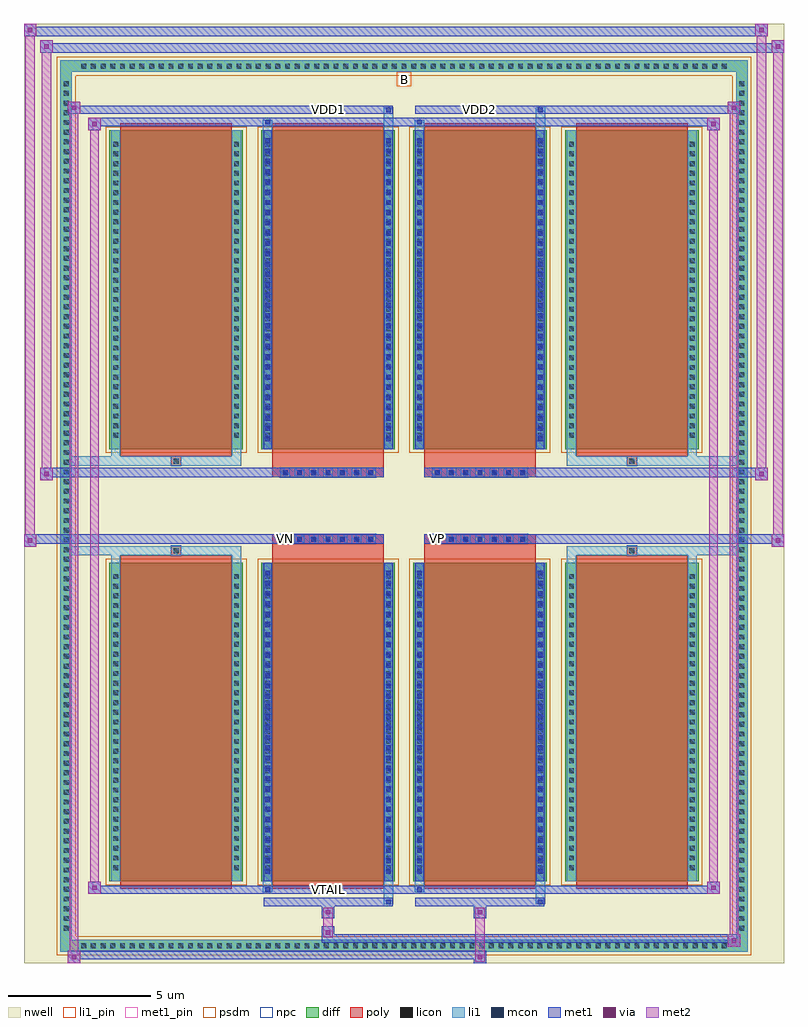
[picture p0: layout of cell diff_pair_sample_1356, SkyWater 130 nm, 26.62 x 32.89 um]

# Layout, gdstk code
import gdstk
lib = gdstk.Library(unit=1e-6, precision=5e-09)
def R(c, l, rs):  # rectangles x0, y0, x1, y1
    for r in rs: c.add(gdstk.rectangle(r[:2], r[2:], *l))
def A(c, l, x, y, w, h, nx, ny, dx, dy):  # array of equal rectangles
    R(c, l, [(x+i*dx, y+j*dy, x+i*dx+w, y+j*dy+h) for i in range(nx) for j in range(ny)])
def P(c, l, *ps):  # polygons
    for p in ps: c.add(gdstk.Polygon(p, *l))
nwell = (64, 20)
diff = (65, 20)
poly = (66, 20)
licon = (66, 44)
li1_pin = (67, 16)
li1 = (67, 20)
mcon = (67, 44)
met1_pin = (68, 16)
met1 = (68, 20)
via = (68, 44)
met2 = (69, 20)
psdm = (94, 20)
npc = (95, 20)

diff_pair_sample_1356 = lib.new_cell('diff_pair_sample_1356')
R(diff_pair_sample_1356, nwell, [(-13.31,-16.01,13.31,16.88), (-10.63,-14.2,-0.01,-0.8), (0.01,-14.2,10.63,-0.8), (-10.63,0.8,-0.01,14.2), (0.01,0.8,10.63,14.2)])
A(diff_pair_sample_1356, diff, -11.425, -15.61, 0.41, 0.41, 67, 2, 0.34, 30.81)
A(diff_pair_sample_1356, diff, -12.04, -14.995, 0.41, 0.41, 1, 88, 0, 0.34)
A(diff_pair_sample_1356, diff, 11.63, -14.995, 0.41, 0.41, 1, 88, 0, 0.34)
A(diff_pair_sample_1356, diff, -10.32, -13.155, 4.68, 11.17, 4, 2, 5.32, 15.14)
R(diff_pair_sample_1356, diff, [(-11.425,-15.61,11.425,-15.2), (-12.04,-14.995,-11.63,14.995), (11.63,-14.995,12.04,14.995), (-11.425,15.2,11.425,15.61)])
P(diff_pair_sample_1356, diff, [(12.04,15.61),(-12.04,15.61),(-12.04,-15.2),(-11.63,-15.2),(-11.63,15.2),(11.63,15.2),(11.63,-15.2),(-11.63,-15.2),(-12.04,-15.2),(-12.04,-15.61),(12.04,-15.61)])
A(diff_pair_sample_1356, poly, -9.93, -13.405, 3.9, 11.67, 4, 2, 5.32, 15.14)
A(diff_pair_sample_1356, poly, -4.325, -1.33, 0.33, 0.33, 7, 2, 0.5, 2.33)
A(diff_pair_sample_1356, poly, 0.995, -1.33, 0.33, 0.33, 7, 2, 0.5, 2.33)
R(diff_pair_sample_1356, poly, [(-8.145,-1.735,-7.815,-1.405), (-8.145,-1.735,-7.815,-1.405), (-4.61,-1.735,-0.71,-1.33), (0.71,-1.735,4.61,-1.33), (7.815,-1.735,8.145,-1.405), (7.815,-1.735,8.145,-1.405), (-4.61,-1.33,-0.71,-1), (0.71,-1.33,4.61,-1), (-4.61,1,-0.71,1.33), (0.71,1,4.61,1.33), (-4.61,1.33,-0.71,1.735), (0.71,1.33,4.61,1.735), (-8.145,1.405,-7.815,1.735), (-8.145,1.405,-7.815,1.735), (7.815,1.405,8.145,1.735), (7.815,1.405,8.145,1.735)])
A(diff_pair_sample_1356, licon, -11.305, -15.49, 0.17, 0.17, 67, 2, 0.34, 30.81)
A(diff_pair_sample_1356, licon, -11.92, -14.875, 0.17, 0.17, 1, 88, 0, 0.34)
A(diff_pair_sample_1356, licon, 11.75, -14.875, 0.17, 0.17, 1, 88, 0, 0.34)
A(diff_pair_sample_1356, licon, -10.18, -12.755, 0.17, 0.17, 1, 31, 0, 0.34)
A(diff_pair_sample_1356, licon, -5.95, -12.755, 0.17, 0.17, 1, 31, 0, 0.34)
A(diff_pair_sample_1356, licon, -4.86, -12.755, 0.17, 0.17, 1, 31, 0, 0.34)
A(diff_pair_sample_1356, licon, -0.63, -12.755, 0.17, 0.17, 1, 31, 0, 0.34)
A(diff_pair_sample_1356, licon, 0.46, -12.755, 0.17, 0.17, 1, 31, 0, 0.34)
A(diff_pair_sample_1356, licon, 4.69, -12.755, 0.17, 0.17, 1, 31, 0, 0.34)
A(diff_pair_sample_1356, licon, 5.78, -12.755, 0.17, 0.17, 1, 31, 0, 0.34)
A(diff_pair_sample_1356, licon, 10.01, -12.755, 0.17, 0.17, 1, 31, 0, 0.34)
A(diff_pair_sample_1356, licon, -4.245, -1.25, 0.17, 0.17, 7, 2, 0.5, 2.33)
A(diff_pair_sample_1356, licon, 1.075, -1.25, 0.17, 0.17, 7, 2, 0.5, 2.33)
A(diff_pair_sample_1356, licon, -10.18, 2.385, 0.17, 0.17, 1, 31, 0, 0.34)
A(diff_pair_sample_1356, licon, -5.95, 2.385, 0.17, 0.17, 1, 31, 0, 0.34)
A(diff_pair_sample_1356, licon, -4.86, 2.385, 0.17, 0.17, 1, 31, 0, 0.34)
A(diff_pair_sample_1356, licon, -0.63, 2.385, 0.17, 0.17, 1, 31, 0, 0.34)
A(diff_pair_sample_1356, licon, 0.46, 2.385, 0.17, 0.17, 1, 31, 0, 0.34)
A(diff_pair_sample_1356, licon, 4.69, 2.385, 0.17, 0.17, 1, 31, 0, 0.34)
A(diff_pair_sample_1356, licon, 5.78, 2.385, 0.17, 0.17, 1, 31, 0, 0.34)
A(diff_pair_sample_1356, licon, 10.01, 2.385, 0.17, 0.17, 1, 31, 0, 0.34)
R(diff_pair_sample_1356, licon, [(-8.065,-1.655,-7.895,-1.485), (7.895,-1.655,8.065,-1.485), (-8.065,1.485,-7.895,1.655), (7.895,1.485,8.065,1.655)])
R(diff_pair_sample_1356, li1_pin, [(-0.25,14.7,0.25,15.2)])
A(diff_pair_sample_1356, li1, -11.385, -15.57, 0.33, 0.33, 67, 2, 0.34, 30.81)
A(diff_pair_sample_1356, li1, -12, -14.955, 0.33, 0.33, 1, 88, 0, 0.34)
A(diff_pair_sample_1356, li1, 11.67, -14.955, 0.33, 0.33, 1, 88, 0, 0.34)
A(diff_pair_sample_1356, li1, -4.86, -12.875, 0.17, 0.17, 1, 30, 0, 0.36)
A(diff_pair_sample_1356, li1, -0.63, -12.875, 0.17, 0.17, 1, 30, 0, 0.36)
A(diff_pair_sample_1356, li1, 0.46, -12.875, 0.17, 0.17, 1, 30, 0, 0.36)
A(diff_pair_sample_1356, li1, 4.69, -12.875, 0.17, 0.17, 1, 30, 0, 0.36)
A(diff_pair_sample_1356, li1, -10.26, -12.835, 0.33, 0.33, 1, 31, 0, 0.34)
A(diff_pair_sample_1356, li1, -6.03, -12.835, 0.33, 0.33, 1, 31, 0, 0.34)
A(diff_pair_sample_1356, li1, -4.94, -12.835, 0.33, 0.33, 1, 31, 0, 0.34)
A(diff_pair_sample_1356, li1, -0.71, -12.835, 0.33, 0.33, 1, 31, 0, 0.34)
A(diff_pair_sample_1356, li1, 0.38, -12.835, 0.33, 0.33, 1, 31, 0, 0.34)
A(diff_pair_sample_1356, li1, 4.61, -12.835, 0.33, 0.33, 1, 31, 0, 0.34)
A(diff_pair_sample_1356, li1, 5.7, -12.835, 0.33, 0.33, 1, 31, 0, 0.34)
A(diff_pair_sample_1356, li1, 9.93, -12.835, 0.33, 0.33, 1, 31, 0, 0.34)
A(diff_pair_sample_1356, li1, -4.325, -1.33, 0.33, 0.33, 7, 2, 0.5, 2.33)
A(diff_pair_sample_1356, li1, 0.995, -1.33, 0.33, 0.33, 7, 2, 0.5, 2.33)
A(diff_pair_sample_1356, li1, -4.86, 2.265, 0.17, 0.17, 1, 30, 0, 0.36)
A(diff_pair_sample_1356, li1, -0.63, 2.265, 0.17, 0.17, 1, 30, 0, 0.36)
A(diff_pair_sample_1356, li1, 0.46, 2.265, 0.17, 0.17, 1, 30, 0, 0.36)
A(diff_pair_sample_1356, li1, 4.69, 2.265, 0.17, 0.17, 1, 30, 0, 0.36)
A(diff_pair_sample_1356, li1, -10.26, 2.305, 0.33, 0.33, 1, 31, 0, 0.34)
A(diff_pair_sample_1356, li1, -6.03, 2.305, 0.33, 0.33, 1, 31, 0, 0.34)
A(diff_pair_sample_1356, li1, -4.94, 2.305, 0.33, 0.33, 1, 31, 0, 0.34)
A(diff_pair_sample_1356, li1, -0.71, 2.305, 0.33, 0.33, 1, 31, 0, 0.34)
A(diff_pair_sample_1356, li1, 0.38, 2.305, 0.33, 0.33, 1, 31, 0, 0.34)
A(diff_pair_sample_1356, li1, 4.61, 2.305, 0.33, 0.33, 1, 31, 0, 0.34)
A(diff_pair_sample_1356, li1, 5.7, 2.305, 0.33, 0.33, 1, 31, 0, 0.34)
A(diff_pair_sample_1356, li1, 9.93, 2.305, 0.33, 0.33, 1, 31, 0, 0.34)
R(diff_pair_sample_1356, li1, [(-12.04,-15.61,-11.63,-15.2), (-12.04,-15.61,-11.63,-15.2), (-11.63,-15.61,11.63,-15.2), (11.63,-15.61,12.04,-15.2), (11.63,-15.61,12.04,-15.2), (-12.04,-15.2,-11.63,15.2), (11.63,-15.2,12.04,15.2), (-0.71,-13.96,-0.38,-13.155), (-0.63,-13.96,-0.46,-13.79), (4.61,-13.96,4.94,-13.155), (4.69,-13.96,4.86,-13.79), (-4.94,-13.53,-4.61,-13.155), (-4.86,-13.53,-4.69,-13.36), (0.38,-13.53,0.71,-13.155), (0.46,-13.53,0.63,-13.36), (-10.26,-13.155,-9.93,-1.985), (-6.03,-13.155,-5.7,-1.985), (-4.94,-13.155,-4.61,-1.985), (-0.71,-13.155,-0.38,-1.985), (0.38,-13.155,0.71,-1.985), (4.61,-13.155,4.94,-1.985), (5.7,-13.155,6.03,-1.985), (9.93,-13.155,10.26,-1.985), (-4.86,-12.875,-4.69,-2.265), (-0.63,-12.875,-0.46,-2.265), (0.46,-12.875,0.63,-2.265), (4.69,-12.875,4.86,-2.265), (-10.26,-1.985,-9.93,-1.405), (-6.03,-1.985,-5.7,-1.405), (5.7,-1.985,6.03,-1.405), (9.93,-1.985,10.26,-1.405), (-12.04,-1.735,-8.145,-1.405), (-10.26,-1.735,-8.145,-1.405), (-8.145,-1.735,-7.815,-1.405), (-7.815,-1.735,-5.7,-1.405), (5.7,-1.735,7.815,-1.405), (7.815,-1.735,8.145,-1.405), (7.815,-1.735,12.04,-1.405), (8.145,-1.735,10.26,-1.405), (-12.04,1.405,-8.145,1.735), (-10.26,1.405,-8.145,1.735), (-10.26,1.405,-9.93,1.985), (-8.145,1.405,-7.815,1.735), (-7.815,1.405,-5.7,1.735), (-6.03,1.405,-5.7,1.985), (5.7,1.405,7.815,1.735), (5.7,1.405,6.03,1.985), (7.815,1.405,8.145,1.735), (7.815,1.405,12.04,1.735), (8.145,1.405,10.26,1.735), (9.93,1.405,10.26,1.985), (-10.26,1.985,-9.93,13.155), (-6.03,1.985,-5.7,13.155), (-4.94,1.985,-4.61,13.155), (-0.71,1.985,-0.38,13.155), (0.38,1.985,0.71,13.155), (4.61,1.985,4.94,13.155), (5.7,1.985,6.03,13.155), (9.93,1.985,10.26,13.155), (-4.86,2.265,-4.69,12.875), (-0.63,2.265,-0.46,12.875), (0.46,2.265,0.63,12.875), (4.69,2.265,4.86,12.875), (-4.94,13.155,-4.61,13.53), (-0.71,13.155,-0.38,13.96), (0.38,13.155,0.71,13.53), (4.61,13.155,4.94,13.96), (-4.86,13.36,-4.69,13.53), (0.46,13.36,0.63,13.53), (-0.63,13.79,-0.46,13.96), (4.69,13.79,4.86,13.96), (-12.04,15.2,-11.63,15.61), (-12.04,15.2,-11.63,15.61), (-11.63,15.2,11.63,15.61), (11.63,15.2,12.04,15.61), (11.63,15.2,12.04,15.61)])
A(diff_pair_sample_1356, mcon, -4.86, -12.875, 0.17, 0.17, 1, 30, 0, 0.36)
A(diff_pair_sample_1356, mcon, -0.63, -12.875, 0.17, 0.17, 1, 30, 0, 0.36)
A(diff_pair_sample_1356, mcon, 0.46, -12.875, 0.17, 0.17, 1, 30, 0, 0.36)
A(diff_pair_sample_1356, mcon, 4.69, -12.875, 0.17, 0.17, 1, 30, 0, 0.36)
A(diff_pair_sample_1356, mcon, -4.245, -1.25, 0.17, 0.17, 7, 2, 0.5, 2.33)
A(diff_pair_sample_1356, mcon, 1.075, -1.25, 0.17, 0.17, 7, 2, 0.5, 2.33)
A(diff_pair_sample_1356, mcon, -4.86, 2.265, 0.17, 0.17, 1, 30, 0, 0.36)
A(diff_pair_sample_1356, mcon, -0.63, 2.265, 0.17, 0.17, 1, 30, 0, 0.36)
A(diff_pair_sample_1356, mcon, 0.46, 2.265, 0.17, 0.17, 1, 30, 0, 0.36)
A(diff_pair_sample_1356, mcon, 4.69, 2.265, 0.17, 0.17, 1, 30, 0, 0.36)
R(diff_pair_sample_1356, mcon, [(-0.63,-13.96,-0.46,-13.79), (4.69,-13.96,4.86,-13.79), (-4.86,-13.53,-4.69,-13.36), (0.46,-13.53,0.63,-13.36), (-4.86,13.36,-4.69,13.53), (0.46,13.36,0.63,13.53), (-0.63,13.79,-0.46,13.96), (4.69,13.79,4.86,13.96)])
R(diff_pair_sample_1356, met1_pin, [(-2.795,-13.57,-2.525,-13.3), (-4.295,-1.29,-4.025,-1.02), (1.025,-1.29,1.295,-1.02), (-2.795,13.75,-2.525,14.02), (2.525,13.75,2.795,14.02)])
A(diff_pair_sample_1356, met1, -4.92, -12.935, 0.29, 0.29, 1, 30, 0, 0.36)
A(diff_pair_sample_1356, met1, -0.69, -12.935, 0.29, 0.29, 1, 30, 0, 0.36)
A(diff_pair_sample_1356, met1, 0.4, -12.935, 0.29, 0.29, 1, 30, 0, 0.36)
A(diff_pair_sample_1356, met1, 4.63, -12.935, 0.29, 0.29, 1, 30, 0, 0.36)
A(diff_pair_sample_1356, met1, -4.305, -1.31, 0.29, 0.29, 7, 2, 0.5, 2.33)
A(diff_pair_sample_1356, met1, 1.015, -1.31, 0.29, 0.29, 7, 2, 0.5, 2.33)
A(diff_pair_sample_1356, met1, -4.92, 2.205, 0.29, 0.29, 1, 30, 0, 0.36)
A(diff_pair_sample_1356, met1, -0.69, 2.205, 0.29, 0.29, 1, 30, 0, 0.36)
A(diff_pair_sample_1356, met1, 0.4, 2.205, 0.29, 0.29, 1, 30, 0, 0.36)
A(diff_pair_sample_1356, met1, 4.63, 2.205, 0.29, 0.29, 1, 30, 0, 0.36)
R(diff_pair_sample_1356, met1, [(-11.77,-16.01,-11.34,-15.58), (2.445,-16.01,2.875,-15.58), (-11.77,-15.87,2.875,-15.58), (11.34,-15.44,11.77,-15.01), (-2.875,-15.3,11.77,-15.01), (-2.875,-15.16,-2.445,-14.73), (-2.875,-14.45,-2.445,-14.02), (2.445,-14.45,2.875,-14.02), (-4.92,-14.02,-0.4,-13.73), (-0.69,-14.02,-0.4,-13.73), (0.4,-14.02,4.92,-13.73), (4.63,-14.02,4.92,-13.73), (-11.06,-13.59,-10.63,-13.16), (-11.06,-13.59,-4.92,-13.3), (-4.92,-13.59,-4.63,-13.3), (-4.92,-13.59,-0.4,-13.3), (-0.4,-13.59,0.4,-13.3), (0.4,-13.59,0.69,-13.3), (0.4,-13.59,4.92,-13.3), (4.92,-13.59,11.06,-13.3), (10.63,-13.59,11.06,-13.16), (-4.92,-13.155,-4.63,-1.985), (-0.69,-13.155,-0.4,-1.985), (0.4,-13.155,0.69,-1.985), (4.63,-13.155,4.92,-1.985), (-13.31,-1.43,-12.88,-1), (12.88,-1.43,13.31,-1), (-13.31,-1.33,-0.71,-1), (-4.61,-1.33,-0.71,-1), (0.71,-1.33,4.61,-1), (0.71,-1.33,13.31,-1), (-12.74,0.9,-12.31,1.33), (12.31,0.9,12.74,1.33), (-12.74,1,-4.61,1.33), (-4.61,1,-0.71,1.33), (0.71,1,4.61,1.33), (4.61,1,12.74,1.33), (-4.92,1.985,-4.63,13.155), (-0.69,1.985,-0.4,13.155), (0.4,1.985,0.69,13.155), (4.63,1.985,4.92,13.155), (-11.06,13.16,-10.63,13.59), (10.63,13.16,11.06,13.59), (-11.06,13.3,-4.92,13.59), (-4.92,13.3,-4.63,13.59), (-4.92,13.3,-0.4,13.59), (-0.4,13.3,0.4,13.59), (0.4,13.3,0.69,13.59), (0.4,13.3,4.92,13.59), (4.92,13.3,11.06,13.59), (-11.77,13.73,-11.34,14.16), (-11.77,13.73,-4.92,14.02), (-4.92,13.73,-0.4,14.02), (-0.69,13.73,-0.4,14.02), (0.4,13.73,4.92,14.02), (4.63,13.73,4.92,14.02), (4.92,13.73,11.77,14.02), (11.34,13.73,11.77,14.16), (-12.74,15.88,-12.31,16.31), (-12.74,15.88,-10.63,16.21), (-10.63,15.88,10.63,16.21), (10.63,15.88,13.31,16.21), (12.88,15.88,13.31,16.31), (-13.31,16.45,-12.88,16.88), (-13.31,16.45,-10.63,16.78), (-10.63,16.45,10.63,16.78), (10.63,16.45,12.74,16.78), (12.31,16.45,12.74,16.88)])
R(diff_pair_sample_1356, via, [(-11.63,-15.87,-11.48,-15.72), (2.585,-15.87,2.735,-15.72), (11.48,-15.3,11.63,-15.15), (-2.735,-15.02,-2.585,-14.87), (-2.735,-14.31,-2.585,-14.16), (2.585,-14.31,2.735,-14.16), (-10.92,-13.45,-10.77,-13.3), (10.77,-13.45,10.92,-13.3), (-13.17,-1.29,-13.02,-1.14), (13.02,-1.29,13.17,-1.14), (-12.6,1.04,-12.45,1.19), (12.45,1.04,12.6,1.19), (-10.92,13.3,-10.77,13.45), (10.77,13.3,10.92,13.45), (-11.63,13.87,-11.48,14.02), (11.48,13.87,11.63,14.02), (-12.6,16.02,-12.45,16.17), (13.02,16.02,13.17,16.17), (-13.17,16.59,-13.02,16.74), (12.45,16.59,12.6,16.74)])
R(diff_pair_sample_1356, met2, [(-11.77,-16.01,-11.34,-15.58), (-11.7,-16.01,-11.41,14.16), (-11.41,-16.01,-11.34,-15.58), (-11.72,-15.96,-11.39,-15.63), (2.495,-15.96,2.825,-15.63), (2.495,-15.63,2.825,-14.4), (11.34,-15.44,11.77,-15.01), (11.41,-15.44,11.7,14.16), (11.7,-15.44,11.77,-15.01), (11.39,-15.39,11.72,-15.06), (-2.825,-15.11,-2.495,-14.78), (-2.825,-14.78,-2.495,-14.4), (-2.825,-14.4,-2.495,-14.07), (2.495,-14.4,2.825,-14.07), (-11.06,-13.59,-10.63,-13.16), (-10.99,-13.59,-10.7,13.59), (-10.7,-13.59,-10.63,-13.16), (10.63,-13.59,11.06,-13.16), (10.7,-13.59,10.99,13.59), (10.99,-13.59,11.06,-13.16), (-11.01,-13.54,-10.68,-13.21), (10.68,-13.54,11.01,-13.21), (-13.31,-1.43,-12.88,-1), (-13.26,-1.43,-12.93,16.88), (-12.93,-1.43,-12.88,-1), (12.88,-1.43,13.31,-1), (12.93,-1.43,13.26,16.31), (13.26,-1.43,13.31,-1), (-13.26,-1.38,-12.93,-1.05), (12.93,-1.38,13.26,-1.05), (-12.74,0.9,-12.31,1.33), (-12.69,0.9,-12.36,16.31), (-12.36,0.9,-12.31,1.33), (12.31,0.9,12.74,1.33), (12.36,0.9,12.69,16.88), (12.69,0.9,12.74,1.33), (-12.69,0.95,-12.36,1.28), (12.36,0.95,12.69,1.28), (-11.06,13.16,-10.63,13.59), (-10.7,13.16,-10.63,13.59), (10.63,13.16,11.06,13.59), (10.99,13.16,11.06,13.59), (-11.01,13.21,-10.68,13.54), (10.68,13.21,11.01,13.54), (-11.77,13.73,-11.34,14.16), (-11.41,13.73,-11.34,14.16), (11.34,13.73,11.77,14.16), (11.7,13.73,11.77,14.16), (-11.72,13.78,-11.39,14.11), (11.39,13.78,11.72,14.11), (-12.74,15.88,-12.31,16.31), (-12.36,15.88,-12.31,16.31), (12.88,15.88,13.31,16.31), (13.26,15.88,13.31,16.31), (-12.69,15.93,-12.36,16.26), (12.93,15.93,13.26,16.26), (-13.31,16.45,-12.88,16.88), (-12.93,16.45,-12.88,16.88), (12.31,16.45,12.74,16.88), (12.69,16.45,12.74,16.88), (-13.26,16.5,-12.93,16.83), (12.36,16.5,12.69,16.83)])
A(diff_pair_sample_1356, psdm, -10.45, -13.285, 4.94, 11.43, 4, 2, 5.32, 15.14)
P(diff_pair_sample_1356, psdm, [(12.17,15.74),(-12.17,15.74),(-12.17,-15.07),(-11.5,-15.07),(-11.5,15.07),(11.5,15.07),(11.5,-15.07),(-11.5,-15.07),(-12.17,-15.07),(-12.17,-15.74),(12.17,-15.74)])
A(diff_pair_sample_1356, npc, -4.345, -1.35, 0.37, 0.37, 7, 2, 0.5, 2.33)
A(diff_pair_sample_1356, npc, 0.975, -1.35, 0.37, 0.37, 7, 2, 0.5, 2.33)
R(diff_pair_sample_1356, npc, [(-8.165,-1.755,-7.795,-1.385), (7.795,-1.755,8.165,-1.385), (-4.345,-1.35,-3.475,-0.98), (-4.345,-1.35,-3.475,-0.98), (-3.845,-1.35,-2.975,-0.98), (-3.845,-1.35,-2.975,-0.98), (-3.345,-1.35,-2.475,-0.98), (-3.345,-1.35,-2.475,-0.98), (-2.845,-1.35,-1.975,-0.98), (-2.845,-1.35,-1.975,-0.98), (-2.345,-1.35,-1.475,-0.98), (-2.345,-1.35,-1.475,-0.98), (-1.845,-1.35,-0.975,-0.98), (-1.845,-1.35,-0.975,-0.98), (0.975,-1.35,1.845,-0.98), (0.975,-1.35,1.845,-0.98), (1.475,-1.35,2.345,-0.98), (1.475,-1.35,2.345,-0.98), (1.975,-1.35,2.845,-0.98), (1.975,-1.35,2.845,-0.98), (2.475,-1.35,3.345,-0.98), (2.475,-1.35,3.345,-0.98), (2.975,-1.35,3.845,-0.98), (2.975,-1.35,3.845,-0.98), (3.475,-1.35,4.345,-0.98), (3.475,-1.35,4.345,-0.98), (-4.345,0.98,-3.475,1.35), (-4.345,0.98,-3.475,1.35), (-3.845,0.98,-2.975,1.35), (-3.845,0.98,-2.975,1.35), (-3.345,0.98,-2.475,1.35), (-3.345,0.98,-2.475,1.35), (-2.845,0.98,-1.975,1.35), (-2.845,0.98,-1.975,1.35), (-2.345,0.98,-1.475,1.35), (-2.345,0.98,-1.475,1.35), (-1.845,0.98,-0.975,1.35), (-1.845,0.98,-0.975,1.35), (0.975,0.98,1.845,1.35), (0.975,0.98,1.845,1.35), (1.475,0.98,2.345,1.35), (1.475,0.98,2.345,1.35), (1.975,0.98,2.845,1.35), (1.975,0.98,2.845,1.35), (2.475,0.98,3.345,1.35), (2.475,0.98,3.345,1.35), (2.975,0.98,3.845,1.35), (2.975,0.98,3.845,1.35), (3.475,0.98,4.345,1.35), (3.475,0.98,4.345,1.35), (-8.165,1.385,-7.795,1.755), (7.795,1.385,8.165,1.755)])
diff_pair_sample_1356.add(gdstk.Label('VTAIL', (-2.66,-13.435), layer=68, texttype=5))
diff_pair_sample_1356.add(gdstk.Label('VN', (-4.16,-1.155), layer=68, texttype=5))
diff_pair_sample_1356.add(gdstk.Label('VP', (1.16,-1.155), layer=68, texttype=5))
diff_pair_sample_1356.add(gdstk.Label('B', (0,14.95), layer=67, texttype=5))
diff_pair_sample_1356.add(gdstk.Label('VDD2', (2.66,13.885), layer=68, texttype=5))
diff_pair_sample_1356.add(gdstk.Label('VDD1', (-2.66,13.885), layer=68, texttype=5))

lib.write_gds('diff_pair_sample_1356.gds')
